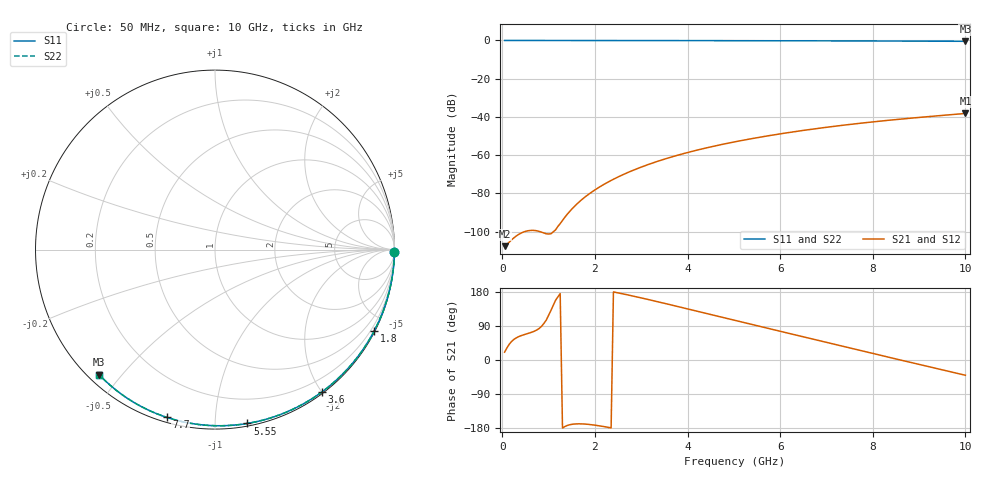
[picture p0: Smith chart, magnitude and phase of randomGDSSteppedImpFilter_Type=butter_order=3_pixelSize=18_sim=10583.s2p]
! freq	dB(S11)	phase(S11)	dB(S12)	phase(S12)
!  dB(S21)	phase(S21)	dB(S22)	phase(S22)
!S-par simulation data
#  GHz  S  DB  R 50
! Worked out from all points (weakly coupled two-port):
!   200 points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, 50 MHz to 10 GHz, reference 50 ohm
!   highest |S21| = -38.20 dB at 10 GHz (marker M1); lowest = -107.6 dB at 50 MHz (marker M2)
!   lowest |S11| = -0.4 dB at 10 GHz (marker M3), VSWR 38.91, Z = 1.53 - j21.8 ohm
!   |S11| at or under -10 dB: nowhere
!   |S22| runs from -0.4 to 0.0 dB; largest |S21 - S12| = 0
!   S11 on the Smith chart (normalised r, x): 50 MHz: open; 1.8 GHz: 0.04, -4.13; 3.6 GHz: 0.02, -2.00; 5.55 GHz: 0.02, -1.20; 7.7 GHz: 0.02, -0.75; 10 GHz: 0.03, -0.44
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0.05  -0.00 -0.8  -107.62 20.6  -107.62 20.6  -0.00 -0.8
0.45  -0.01 -6.9  -100.29 66.1  -100.29 66.1  -0.01 -6.9
0.9  -0.02 -13.7  -100.76 96.7  -100.76 96.7  -0.02 -13.7
1.75  -0.03 -26.5  -82.60 -168.8  -82.60 -168.8  -0.03 -26.5
1.8  -0.03 -27.2  -81.64 -169.2  -81.64 -169.2  -0.03 -27.2
1.9  -0.04 -28.7  -79.84 -170.4  -79.84 -170.4  -0.04 -28.7
2.05  -0.04 -30.9  -77.40 -172.8  -77.40 -172.8  -0.04 -30.9
2.25  -0.04 -33.9  -74.53 -176.9  -74.53 -176.9  -0.04 -33.9
2.45  -0.05 -36.8  -72.00 178.4  -72.00 178.4  -0.05 -36.8
2.65  -0.05 -39.7  -69.72 173.4  -69.72 173.4  -0.05 -39.7
3  -0.06 -44.7  -66.25 163.9  -66.25 163.9  -0.06 -44.7
3.4  -0.07 -50.4  -62.86 152.5  -62.86 152.5  -0.07 -50.4
3.6  -0.07 -53.2  -61.35 146.7  -61.35 146.7  -0.07 -53.2
4.3  -0.09 -62.9  -56.81 126.0  -56.81 126.0  -0.09 -62.9
5.05  -0.11 -72.9  -52.89 103.8  -52.89 103.8  -0.11 -72.9
5.55  -0.13 -79.5  -50.66 89.0  -50.66 89.0  -0.13 -79.5
6.1  -0.15 -86.5  -48.49 72.9  -48.49 72.9  -0.15 -86.5
6.7  -0.18 -94.0  -46.38 55.3  -46.38 55.3  -0.18 -94.0
7.7  -0.24 -106.1  -43.39 26.0  -43.39 26.0  -0.24 -106.1
8.35  -0.29 -113.8  -41.74 7.1  -41.74 7.1  -0.29 -113.8
9.15  -0.36 -123.1  -39.94 -15.9  -39.94 -15.9  -0.36 -123.1
10  -0.45 -132.8  -38.20 -40.3  -38.20 -40.3  -0.45 -132.8
